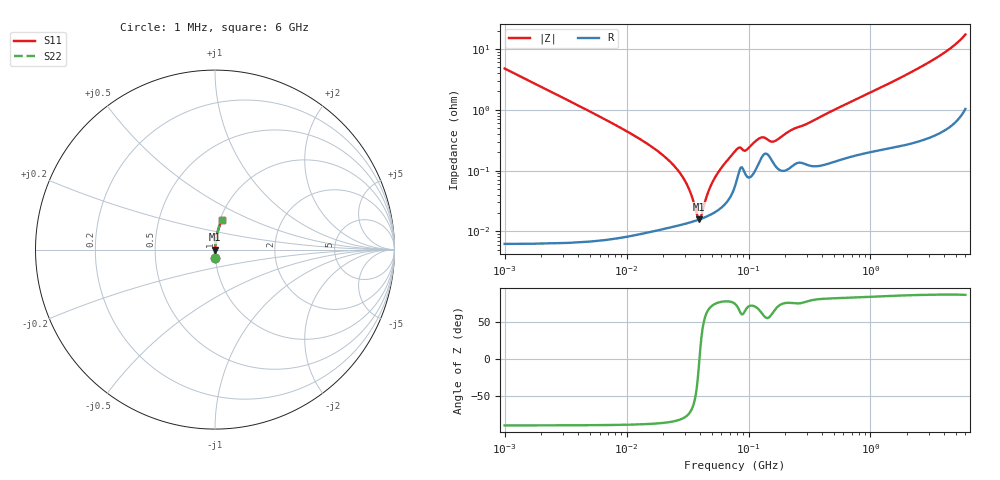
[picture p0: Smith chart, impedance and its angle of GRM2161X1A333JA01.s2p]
!Murata Part Number: GRM2161X1A333JA01
!These Parameters are Measured in Series Mode Connection
!Data Generated on Mar 30, 2021
!  o--ll--o
!Port1  Port2
!  o------o
!Operation Temp=25[degC], DC Bias Voltage=0[V]
!Freq. Start=1000[kHz] Stop=6[GHz] 401[Steps]
# Hz S RI R 50
!Freq.(Hz) S11(Real) S11(Imag) S21(Real) S21(Imag) S12(Real) S12(Imag) S22(Real) S22(Imag)
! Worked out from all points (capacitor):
!   401 points, 1 MHz to 6 GHz, reference 50 ohm
!   read as one part in series: C = 33.4 nF near 1.044 MHz
!   lowest |Z| = 15.7 mohm at 39.47 MHz (marker M1)
!   series resonance near 39.6 MHz, so ESL is about 480 pH
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1000000  0.00233 -0.0476  0.9977 0.0476  0.9977 0.0476  0.00233 -0.0476
4293785  0.000187 -0.011  0.9998 0.011  0.9998 0.011  0.000187 -0.011
1.0704e7  0.000101 -0.00412  0.9999 0.00412  0.9999 0.00412  0.000101 -0.00412
1.843659e7  0.000109 -0.00202  0.9999 0.00202  0.9999 0.00202  0.000109 -0.00202
2.393455e7  0.00012 -0.00126  0.9999 0.00126  0.9999 0.00126  0.00012 -0.00126
2.910942e7  0.000131 -0.000752  0.9999 0.000752  0.9999 0.000752  0.000131 -0.000752
3.245342e7  0.000139 -0.000483  0.9999 0.000483  0.9999 0.000483  0.000139 -0.000483
3.779011e7  0.000152 -0.000113  0.9998 0.000113  0.9998 0.000113  0.000152 -0.000113
3.947016e7  0.000157 -7.9e-06  0.9998 7.9e-06  0.9998 7.9e-06  0.000157 -7.9e-06
4.12249e7  0.000162 9.81e-05  0.9998 -9.81e-05  0.9998 -9.81e-05  0.000162 9.81e-05
4.697123e7  0.000182 0.000422  0.9998 -0.000422  0.9998 -0.000422  0.000182 0.000422
5.236714e7  0.000204 0.000704  0.9998 -0.000704  0.9998 -0.000704  0.000204 0.000704
7.745967e7  0.000559 0.002  0.9994 -0.002  0.9994 -0.002  0.000559 0.002
8.450008e7  0.00103 0.00217  0.999 -0.00217  0.999 -0.00217  0.00103 0.00217
9.627852e7  0.000816 0.00203  0.9992 -0.00203  0.9992 -0.00203  0.000816 0.00203
1.277378e8  0.00163 0.0031  0.9984 -0.0031  0.9984 -0.0031  0.00163 0.0031
1.658303e8  0.0012 0.00284  0.9988 -0.00284  0.9988 -0.00284  0.0012 0.00284
2.248532e8  0.00117 0.0045  0.9988 -0.0045  0.9988 -0.0045  0.00117 0.0045
3.325952e8  0.00122 0.00638  0.9988 -0.00638  0.9988 -0.00638  0.00122 0.00638
1.428092e9  0.00304 0.027  0.997 -0.027  0.997 -0.027  0.00304 0.027
3.5601e9  0.00929 0.0727  0.9907 -0.0727  0.9907 -0.0727  0.00929 0.0727
6e9  0.0383 0.1645  0.9617 -0.1645  0.9617 -0.1645  0.0383 0.1645
